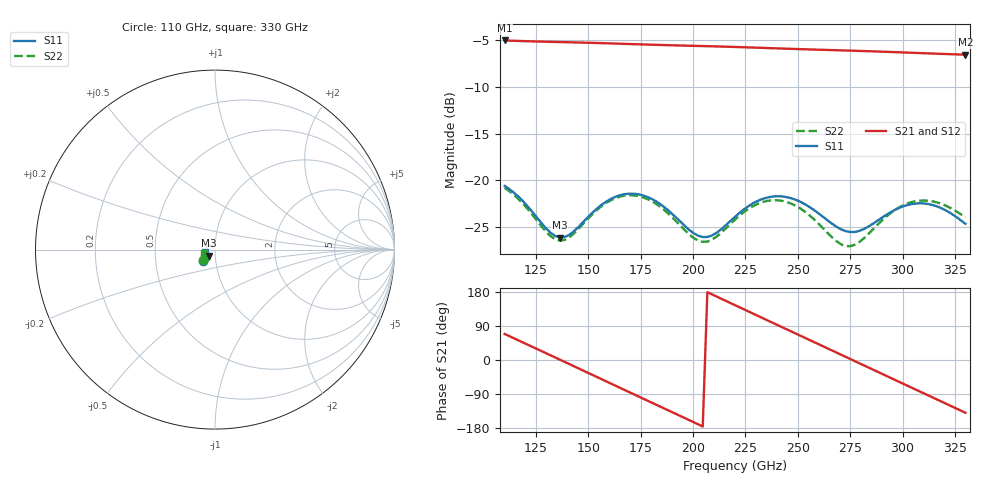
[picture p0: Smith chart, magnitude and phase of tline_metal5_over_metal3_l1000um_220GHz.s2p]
#  GHZ S DB R 50
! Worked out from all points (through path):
!   101 points, 110 GHz to 330 GHz, reference 50 ohm
!   highest |S21| = -5.02 dB at 110 GHz (marker M1); lowest = -6.5 dB at 330 GHz (marker M2)
!   group delay of S21, straight-line fit = 7.17 ps
!   lowest |S11| = -26.1 dB at 136.4 GHz (marker M3), VSWR 1.10, Z = 46.5 - j3.18 ohm
!   |S11| at or under -10 dB: start of sweep to end of sweep
!   |S22| runs from -27.1 to -20.8 dB; largest |S21 - S12| = 9.4e-14
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110  -20.61 -138.3  -5.02 68.8  -5.02 68.8  -20.82 -139.4
123.2  -23.38 -149.9  -5.12 34.9  -5.12 34.9  -23.68 -150.8
136.4  -26.14 -136.3  -5.19 0.9  -5.19 0.9  -26.47 -135.8
147.4  -24.52 -121.7  -5.25 -27.6  -5.25 -27.6  -24.69 -121.1
158.4  -22.31 -126.0  -5.32 -56.1  -5.32 -56.1  -22.44 -126.0
167.2  -21.50 -135.8  -5.39 -78.9  -5.39 -78.9  -21.66 -136.2
176  -21.62 -146.6  -5.45 -101.6  -5.45 -101.6  -21.83 -147.2
184.8  -22.64 -155.3  -5.51 -124.3  -5.51 -124.3  -22.93 -156.1
202.4  -25.95 -150.1  -5.61 -169.7  -5.61 -169.7  -26.47 -149.8
211.2  -25.63 -136.8  -5.66 167.5  -5.66 167.5  -26.05 -135.4
220  -23.92 -132.1  -5.72 144.7  -5.72 144.7  -24.22 -131.1
231  -22.20 -138.5  -5.80 116.3  -5.80 116.3  -22.51 -138.4
239.8  -21.72 -147.5  -5.87 93.5  -5.87 93.5  -22.14 -148.0
248.6  -22.06 -156.5  -5.93 70.8  -5.93 70.8  -22.69 -157.4
257.4  -23.14 -162.6  -6.00 48.2  -6.00 48.2  -24.12 -163.3
266.2  -24.64 -162.3  -6.05 25.5  -6.05 25.5  -26.09 -160.6
275  -25.55 -154.0  -6.11 2.7  -6.11 2.7  -27.07 -146.3
283.8  -24.96 -145.0  -6.17 -20.0  -6.17 -20.0  -25.74 -133.8
294.8  -23.37 -144.2  -6.26 -48.4  -6.26 -48.4  -23.44 -134.0
303.6  -22.58 -150.0  -6.33 -71.1  -6.33 -71.1  -22.39 -141.1
312.4  -22.55 -157.6  -6.41 -93.8  -6.41 -93.8  -22.20 -149.7
330  -24.67 -165.8  -6.55 -139.1  -6.55 -139.1  -23.97 -159.9
